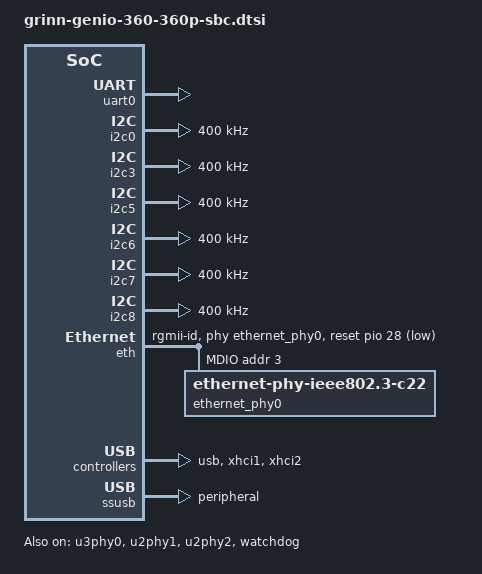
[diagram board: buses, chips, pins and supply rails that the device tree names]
// SPDX-License-Identifier: GPL-2.0 OR MIT
/*
 * Copyright (C) 2025 MediaTek Inc.
 * Copyright (C) 2026 Grinn sp. z o.o.
 */

/ {
	chosen {
		stdout-path = &uart0;
	};
};

&uart0 {
	status = "okay";
};

&i2c0 {
	pinctrl-names = "default";
	pinctrl-0 = <&i2c0_pins>;
	clock-frequency = <400000>;
	status = "okay";
};

&i2c3 {
	pinctrl-names = "default";
	pinctrl-0 = <&i2c3_pins>;
	clock-frequency = <400000>;
	status = "okay";
};

&i2c5 {
	pinctrl-names = "default";
	pinctrl-0 = <&i2c5_pins>;
	clock-frequency = <400000>;
	status = "okay";
};

&i2c6 {
	pinctrl-names = "default";
	pinctrl-0 = <&i2c6_pins>;
	clock-frequency = <400000>;
	status = "okay";
};

&i2c7 {
	pinctrl-names = "default";
	pinctrl-0 = <&i2c7_pins>;
	clock-frequency = <400000>;
	status = "okay";
};

&i2c8 {
	pinctrl-names = "default";
	pinctrl-0 = <&i2c8_pins>;
	clock-frequency = <400000>;
	status = "okay";
};

&pio {
	i2c0_pins: i2c0-default {
		pins-bus {
			pinmux = <PINMUX_GPIO98__FUNC_SCL0>,
				 <PINMUX_GPIO99__FUNC_SDA0>;
			bias-pull-up = <MTK_PULL_SET_RSEL_111>;
		};
	};

	i2c3_pins: i2c3-default {
		pins-bus {
			pinmux = <PINMUX_GPIO104__FUNC_SCL3>,
				 <PINMUX_GPIO105__FUNC_SDA3>;
			bias-pull-up = <MTK_PULL_SET_RSEL_111>;
		};
	};

	i2c5_pins: i2c5-default {
		pins-bus {
			pinmux = <PINMUX_GPIO108__FUNC_SCL5>,
				 <PINMUX_GPIO109__FUNC_SDA5>;
			bias-pull-up = <MTK_PULL_SET_RSEL_111>;
		};
	};

	i2c6_pins: i2c6-default {
		pins-bus {
			pinmux = <PINMUX_GPIO110__FUNC_SCL6>,
				 <PINMUX_GPIO111__FUNC_SDA6>;
			bias-pull-up = <MTK_PULL_SET_RSEL_111>;
		};
	};

	i2c7_pins: i2c7-default {
		pins-bus {
			pinmux = <PINMUX_GPIO112__FUNC_SCL7>,
				 <PINMUX_GPIO113__FUNC_SDA7>;
			bias-pull-up = <MTK_PULL_SET_RSEL_111>;
		};
	};

	i2c8_pins: i2c8-default {
		pins-bus {
			pinmux = <PINMUX_GPIO114__FUNC_SCL8>,
				 <PINMUX_GPIO115__FUNC_SDA8>;
			bias-pull-up = <MTK_PULL_SET_RSEL_111>;
		};
	};

	usb0_default_pins: usb0-default-pins {
		pins-vbus-valid {
			pinmux = <PINMUX_GPIO54__FUNC_VBUSVALID>;
		};
	};

	eth_default: eth-default {
		txd-pins {
			pinmux = <PINMUX_GPIO12__FUNC_GBE_TXD3>,
				 <PINMUX_GPIO13__FUNC_GBE_TXD2>,
				 <PINMUX_GPIO14__FUNC_GBE_TXD1>,
				 <PINMUX_GPIO15__FUNC_GBE_TXD0>;
			drive-strength = <MTK_DRIVE_8mA>;
		};

		cc-pins {
			pinmux = <PINMUX_GPIO20__FUNC_GBE_TXC>,
				 <PINMUX_GPIO23__FUNC_GBE_TXEN>,
				 <PINMUX_GPIO22__FUNC_GBE_RXDV>,
				 <PINMUX_GPIO21__FUNC_GBE_RXC>;
			drive-strength = <MTK_DRIVE_8mA>;
		};

		rxd-pins {
			pinmux = <PINMUX_GPIO16__FUNC_GBE_RXD3>,
				 <PINMUX_GPIO17__FUNC_GBE_RXD2>,
				 <PINMUX_GPIO18__FUNC_GBE_RXD1>,
				 <PINMUX_GPIO19__FUNC_GBE_RXD0>;
			drive-strength = <MTK_DRIVE_8mA>;
		};

		mdio-pins {
			pinmux = <PINMUX_GPIO24__FUNC_GBE_MDC>,
				 <PINMUX_GPIO25__FUNC_GBE_MDIO>;
			drive-strength = <MTK_DRIVE_8mA>;
			input-enable;
		};
	};

	eth_sleep: eth-sleep {
		txd-pins {
			pinmux = <PINMUX_GPIO12__FUNC_GPIO12>,
				 <PINMUX_GPIO13__FUNC_GPIO13>,
				 <PINMUX_GPIO14__FUNC_GPIO14>,
				 <PINMUX_GPIO15__FUNC_GPIO15>;
		};

		cc-pins {
			pinmux = <PINMUX_GPIO20__FUNC_GPIO20>,
				 <PINMUX_GPIO23__FUNC_GPIO23>,
				 <PINMUX_GPIO22__FUNC_GPIO22>,
				 <PINMUX_GPIO21__FUNC_GPIO21>;
		};

		rxd-pins {
			pinmux = <PINMUX_GPIO16__FUNC_GPIO16>,
				 <PINMUX_GPIO17__FUNC_GPIO17>,
				 <PINMUX_GPIO18__FUNC_GPIO18>,
				 <PINMUX_GPIO19__FUNC_GPIO19>;
		};

		mdio-pins {
			pinmux = <PINMUX_GPIO24__FUNC_GPIO24>,
				 <PINMUX_GPIO25__FUNC_GPIO25>;
			input-disable;
			bias-disable;
		};
	};
};

&eth {
	phy-mode = "rgmii-id";
	phy-handle = <&ethernet_phy0>;
	snps,reset-active-low;
	snps,reset-delays-us = <0 11000 200000>;
	snps,reset-gpio = <&pio 28 GPIO_ACTIVE_LOW>;
	pinctrl-names = "default", "sleep";
	pinctrl-0 = <&eth_default>;
	pinctrl-1 = <&eth_sleep>;
	status = "okay";

	mdio {
		compatible = "snps,dwmac-mdio";
		#address-cells = <1>;
		#size-cells = <0>;

		ethernet_phy0: ethernet-phy@3 {
			compatible = "ethernet-phy-ieee802.3-c22";
			reg = <3>;
		};
	};
};

&usb {
	status = "okay";
};

&ssusb {
	pinctrl-names = "default";
	pinctrl-0 = <&usb0_default_pins>;
	maximum-speed = "high-speed";
	dr_mode = "peripheral";
	status = "okay";
};

&u3phy0 {
	status = "okay";
};

&xhci1 {
	status = "okay";
};

&u2phy1 {
	status = "okay";
};

&xhci2 {
	status = "okay";
};

&u2phy2 {
	status = "okay";
};

&watchdog {
	status = "okay";
};
